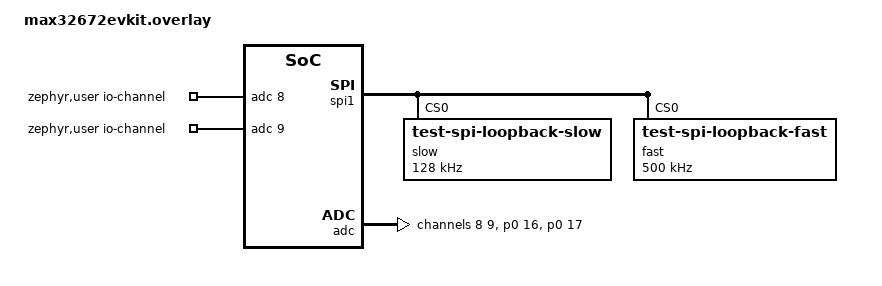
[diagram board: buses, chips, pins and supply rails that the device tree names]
/*
 * Copyright (c) 2024 Analog Devices, Inc.
 *
 * SPDX-License-Identifier: Apache-2.0
 */

tst_dma0: &dma0 {};

&spi1 {
	dmas = <&dma0 1 MAX32_DMA_SLOT_SPI1_TX>, <&dma0 2 MAX32_DMA_SLOT_SPI1_RX>;
	dma-names = "tx", "rx";
	slow@0 {
		compatible = "test-spi-loopback-slow";
		reg = <0>;
		spi-max-frequency = <128000>;
	};
	fast@0 {
		compatible = "test-spi-loopback-fast";
		reg = <0>;
		spi-max-frequency = <500000>;
	};
};

/ {
	zephyr,user {
		io-channels = <&adc 8>, <&adc 9>;
	};
};

&adc {
	status = "okay";
	pinctrl-0 = <&ain8_p0_16 &ain9_p0_17>;
	pinctrl-names = "default";
	#address-cells = <1>;
	#size-cells = <0>;
	channel@8 {
		reg = <8>;
		zephyr,gain = "ADC_GAIN_1";
		zephyr,reference = "ADC_REF_INTERNAL";
		zephyr,acquisition-time = <ADC_ACQ_TIME_DEFAULT>;
		zephyr,resolution = <12>;
	};
	channel@9 {
		reg = <9>;
		zephyr,gain = "ADC_GAIN_1";
		zephyr,reference = "ADC_REF_INTERNAL";
		zephyr,acquisition-time = <ADC_ACQ_TIME_DEFAULT>;
		zephyr,resolution = <12>;
	};
};
